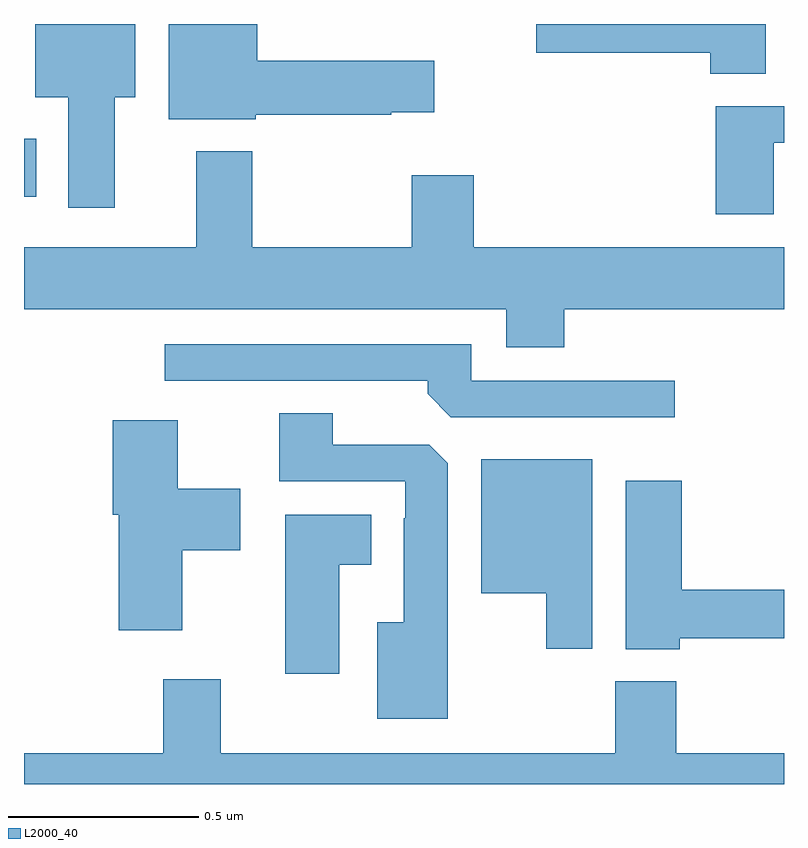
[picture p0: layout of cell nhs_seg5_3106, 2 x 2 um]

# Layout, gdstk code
import gdstk
lib = gdstk.Library(unit=1e-6, precision=1e-09)
def R(c, l, rs):  # rectangles x0, y0, x1, y1
    for r in rs: c.add(gdstk.rectangle(r[:2], r[2:], *l))
def P(c, l, *ps):  # polygons
    for p in ps: c.add(gdstk.Polygon(p, *l))
L2000_40 = (2000, 40)

nhs_seg5_3106 = lib.new_cell('nhs_seg5_3106')
R(nhs_seg5_3106, L2000_40, [(152,902.345,152.032,902.497)])
P(nhs_seg5_3106, L2000_40, [(152.61,902.56),(152.966,902.56),(152.966,902.567),(153.079,902.567),(153.079,902.702),(152.614,902.702),(152.614,902.799),(152.381,902.799),(152.381,902.549),(152.61,902.549)],
  [(153.952,902.799),(153.348,902.799),(153.348,902.723),(153.806,902.723),(153.806,902.668),(153.952,902.668)],
  [(152.239,902.606),(152.293,902.606),(152.293,902.799),(152.03,902.799),(152.03,902.606),(152.117,902.606),(152.117,902.316),(152.239,902.316)],
  [(153.973,902.487),(154,902.487),(154,902.583),(153.821,902.583),(153.821,902.298),(153.973,902.298)],
  [(153.422,902.048),(154,902.048),(154,902.212),(153.184,902.212),(153.184,902.401),(153.02,902.401),(153.02,902.212),(152.601,902.212),(152.601,902.464),(152.453,902.464),(152.453,902.212),(152,902.212),(152,902.048),(153.269,902.048),(153.269,901.949),(153.422,901.949)],
  [(153.712,901.86),(153.177,901.86),(153.177,901.956),(152.37,901.956),(152.37,901.86),(153.062,901.86),(153.062,901.826),(153.123,901.764),(153.712,901.764)],
  [(153.115,901.643),(153.066,901.692),(152.812,901.692),(152.812,901.775),(152.672,901.775),(152.672,901.596),(153.003,901.596),(153.003,901.499),(152.999,901.499),(152.999,901.225),(152.93,901.225),(152.93,900.971),(153.115,900.971)],
  [(152.416,901.414),(152.569,901.414),(152.569,901.576),(152.404,901.576),(152.404,901.756),(152.234,901.756),(152.234,901.507),(152.249,901.507),(152.249,901.203),(152.416,901.203)],
  [(153.496,901.654),(153.203,901.654),(153.203,901.301),(153.374,901.301),(153.374,901.155),(153.496,901.155)],
  [(153.726,901.182),(154,901.182),(154,901.31),(153.731,901.31),(153.731,901.597),(153.584,901.597),(153.584,901.154),(153.726,901.154)],
  [(152.83,901.376),(152.914,901.376),(152.914,901.507),(152.687,901.507),(152.687,901.089),(152.83,901.089)],
  [(154,900.88),(153.716,900.88),(153.716,901.069),(153.556,901.069),(153.556,900.88),(152.518,900.88),(152.518,901.075),(152.366,901.075),(152.366,900.88),(152,900.88),(152,900.799),(154,900.799)])

lib.write_gds('nhs_seg5_3106.gds')
